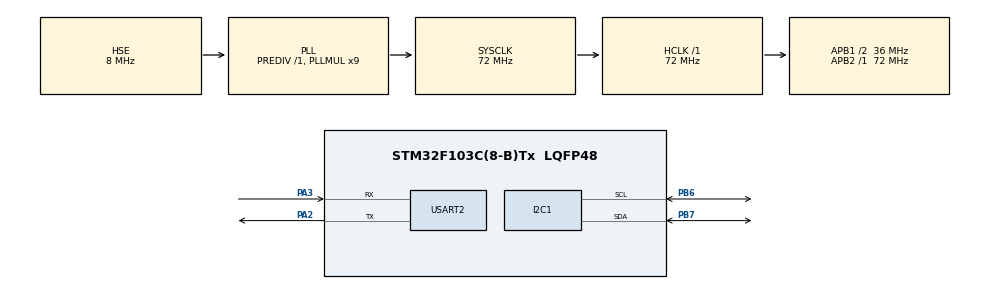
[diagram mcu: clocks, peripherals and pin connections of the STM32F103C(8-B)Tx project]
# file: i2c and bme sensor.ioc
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Mcu.Family=STM32F1
Mcu.Name=STM32F103C(8-B)Tx
Mcu.Package=LQFP48
NVIC.PriorityGroup=NVIC_PRIORITYGROUP_4
PA13.Mode=Serial_Wire
PA13.Signal=SYS_JTMS-SWDIO
PA14.Mode=Serial_Wire
PA14.Signal=SYS_JTCK-SWCLK
PA2.Mode=Asynchronous
PA2.Signal=USART2_TX
PA3.Mode=Asynchronous
PA3.Signal=USART2_RX
PB6.Mode=I2C
PB6.Signal=I2C1_SCL
PB7.Mode=I2C
PB7.Signal=I2C1_SDA
PD0-OSC_IN.Mode=HSE-External-Oscillator
PD0-OSC_IN.Signal=RCC_OSC_IN
PD1-OSC_OUT.Mode=HSE-External-Oscillator
PD1-OSC_OUT.Signal=RCC_OSC_OUT
ProjectManager.HeapSize=0x200
ProjectManager.StackSize=0x400
ProjectManager.TargetToolchain=MDK-ARM V5.32
RCC.AHBFreq_Value=72000000
RCC.APB1CLKDivider=RCC_HCLK_DIV2
RCC.APB1Freq_Value=36000000
RCC.APB1TimFreq_Value=72000000
RCC.APB2Freq_Value=72000000
RCC.APB2TimFreq_Value=72000000
RCC.HCLKFreq_Value=72000000
RCC.PLLMUL=RCC_PLL_MUL9
RCC.PLLSourceVirtual=RCC_PLLSOURCE_HSE
RCC.SYSCLKFreq_VALUE=72000000
RCC.SYSCLKSource=RCC_SYSCLKSOURCE_PLLCLK
RCC.USBFreq_Value=72000000
USART2.VirtualMode=VM_ASYNC
board=custom

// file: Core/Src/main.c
/* USER CODE BEGIN Header */
/**
  ******************************************************************************
  * @file           : main.c
  * @brief          : Main program body
  ******************************************************************************
  * @attention
  *
  * Copyright (c) 2026 STMicroelectronics.
  * All rights reserved.
  *
  * This software is licensed under terms that can be found in the LICENSE file
  * in the root directory of this software component.
  * If no LICENSE file comes with this software, it is provided AS-IS.
  *
  ******************************************************************************
  */
/* USER CODE END Header */
#include "main.h"
#include "string.h"
#include <stdlib.h>
/* USER CODE BEGIN Includes */
#include "bme280.h"
#include <stdio.h>
/* USER CODE END Includes */

I2C_HandleTypeDef hi2c1;

UART_HandleTypeDef huart2;

/* USER CODE BEGIN PV */
	extern I2C_HandleTypeDef hi2c1; // Assumes I2C1 is configured via CubeMX
	struct bme280_dev dev;
	struct bme280_data comp_data;
	struct bme280_settings settings;
	int8_t rslt = BME280_OK;

	// Variables to store final calculated values
	float temperature=0.0f, pressure=0.0f, humidity=0.0f;
	uint8_t rx_data[800];
	uint8_t rx_char;
	uint16_t array_index = 0;

	char ip_info[150];
	char json_data[200];
	char response[1024];
	char cmd[64];
	char html_page[800];
	char sensor_text[900];

	uint8_t cmd1[] = "AT\r\n";
	uint8_t cmd2[] = "AT+CWMODE=1\r\n";
	uint8_t cmd3[] = "AT+CWJAP=\"<SSID>\",\"<PASSWORD>\"\r\n";
	uint8_t cmd4[] = "AT+CIFSR\r\n";
	uint8_t cmd5[] = "AT+CIPMUX=1\r\n";
	uint8_t cmd6[] = "AT+CIPSERVER=1,80\r\n";
/* USER CODE END PV */

	void SystemClock_Config(void);
	static void MX_GPIO_Init(void);
	static void MX_I2C1_Init(void);
	static void MX_USART2_UART_Init(void);

/* USER CODE BEGIN 0 */
	int8_t user_i2c_read(uint8_t reg_addr, uint8_t *reg_data, uint32_t len, void *intf_ptr) {
		 uint8_t dev_addr = *(uint8_t*)intf_ptr;
		 if (HAL_I2C_Mem_Read(&hi2c1, (dev_addr << 1), reg_addr, I2C_MEMADD_SIZE_8BIT, reg_data, len,
		HAL_MAX_DELAY) == HAL_OK) {
				return BME280_OK;
		 }
		 return BME280_E_COMM_FAIL;
	}
	int8_t user_i2c_write(uint8_t reg_addr, const uint8_t *reg_data, uint32_t len, void *intf_ptr) {
		 uint8_t dev_addr = *(uint8_t*)intf_ptr;
		 if (HAL_I2C_Mem_Write(&hi2c1, (dev_addr << 1), reg_addr, I2C_MEMADD_SIZE_8BIT,
		(uint8_t*)reg_data, len, HAL_MAX_DELAY) == HAL_OK) {
				return BME280_OK;
		 }
		 return BME280_E_COMM_FAIL;
	}
	void user_delay_us(uint32_t period, void *intf_ptr) {
	 HAL_Delay((period / 1000) + 1);
	}

	void clear_buffer(void)
	{
			memset(rx_data, 0, sizeof(rx_data));
			array_index = 0;
		}
	void receive_response(void) {
			while (1) {
					if (HAL_UART_Receive(&huart2, &rx_char, 1, 20000) == HAL_OK) {
							if (array_index < sizeof(rx_data) - 1) {
									rx_data[array_index++] = rx_char;
									rx_data[array_index] = '\0';
							}

							if (strstr((char *)rx_data, "OK\r\n") != NULL) {
									break;
							}
							if (strstr((char *)rx_data, "ERROR") != NULL ||
									strstr((char *)rx_data, "FAIL") != NULL) {
									break;
							}
					} else {
							break;
					}
			}
	}
	void send_http_response(const char *content, const char *content_type, int conn_id) {
			int content_len = strlen(content);
			int response_len = snprintf(response, sizeof(response),
					"HTTP/1.1 200 OK\r\n"
					"Content-Type: %s\r\n"
					"Content-Length: %d\r\n"
					"Connection: close\r\n\r\n"
					"%s",
					content_type, content_len, content);

			snprintf(cmd, sizeof(cmd), "AT+CIPSEND=%d,%d\r\n", conn_id, response_len);

			clear_buffer();
			HAL_UART_Transmit(&huart2, (uint8_t*)cmd, strlen(cmd), 1000);
			HAL_Delay(200); // Wait for '>' prompt from ESP8266

			HAL_UART_Transmit(&huart2, (uint8_t*)response, response_len, 1000);
			HAL_Delay(300); // Wait for SEND OK

			clear_buffer();
			snprintf(cmd, sizeof(cmd), "AT+CIPCLOSE=%d\r\n", conn_id);
			HAL_UART_Transmit(&huart2, (uint8_t*)cmd, strlen(cmd), 1000);
	}
/* USER CODE END 0 */

int main(void)
{

  /* MCU Configuration--------------------------------------------------------*/

  /* Reset of all peripherals, Initializes the Flash interface and the Systick. */
  HAL_Init();

  /* Configure the system clock */
  SystemClock_Config();

  /* Initialize all configured peripherals */
  MX_GPIO_Init();
  MX_I2C1_Init();
  MX_USART2_UART_Init();
  /* USER CODE BEGIN 2 */
	static uint8_t dev_addr = BME280_I2C_ADDR_PRIM; // 0x76 (use BME280_I2C_ADDR_SEC if SDO is high)

 // Set up the API configuration function pointers
 dev.intf_ptr = &dev_addr;
 dev.intf = BME280_I2C_INTF;
 dev.read = user_i2c_read;
 dev.write = user_i2c_write;
 dev.delay_us = user_delay_us;
 // Initialize the BME280 sensor (This automatically extracts the compensation data)
 rslt = bme280_init(&dev);
 // Configure sensor settings
 settings.osr_h = BME280_OVERSAMPLING_1X;
 settings.osr_p = BME280_OVERSAMPLING_1X;
 settings.osr_t = BME280_OVERSAMPLING_1X;
 settings.filter = BME280_FILTER_COEFF_OFF;
 rslt = bme280_set_sensor_settings(BME280_SEL_OSR_PRESS | BME280_SEL_OSR_TEMP |BME280_SEL_OSR_HUM | BME280_SEL_FILTER,&settings ,&dev);

 // Set power mode to normal to enable continuous measurement cycles
 rslt = bme280_set_sensor_mode(BME280_POWERMODE_NORMAL, &dev);
  /* USER CODE END 2 */
	HAL_Delay(2000);
	clear_buffer();
	HAL_UART_Transmit(&huart2, cmd1, strlen((char *)cmd1), HAL_MAX_DELAY);
	receive_response();
	clear_buffer();
	HAL_UART_Transmit(&huart2, cmd2, strlen((char *)cmd2), HAL_MAX_DELAY);
	receive_response();
	clear_buffer();
	HAL_UART_Transmit(&huart2, cmd3, strlen((char *)cmd3), HAL_MAX_DELAY);
	receive_response();
	clear_buffer();
  HAL_UART_Transmit(&huart2, cmd4, strlen((char *)cmd4), HAL_MAX_DELAY);
  receive_response();
  strncpy(ip_info, (char *)rx_data, sizeof(ip_info) - 1); // Save IP for debugger inspection
  ip_info[sizeof(ip_info) - 1] = '\0';
	clear_buffer();
	HAL_UART_Transmit(&huart2, cmd5, strlen((char *)cmd5), HAL_MAX_DELAY);
	receive_response();
	clear_buffer();
	HAL_UART_Transmit(&huart2, cmd6, strlen((char *)cmd6), HAL_MAX_DELAY);
	receive_response();
	clear_buffer();
  /* Infinite loop */
  while (1)
  {

    /* USER CODE BEGIN 3 */
    rslt = bme280_get_sensor_data(BME280_ALL, &comp_data, &dev);

    if (rslt == BME280_OK)
    {
        temperature = comp_data.temperature;
        pressure = comp_data.pressure / 100.0f;
        humidity = comp_data.humidity;
    }

    if (HAL_UART_Receive(&huart2, &rx_char, 1, 10) == HAL_OK)
    {
        if (array_index < sizeof(rx_data) - 1)
        {
            rx_data[array_index++] = rx_char;
            rx_data[array_index] = '\0';
        }
        char *ipd_ptr = strstr((char *)rx_data, "+IPD,");
        if (ipd_ptr != NULL && strstr((char *)rx_data, "\r\n\r\n") != NULL)
        {
            int conn_id = ipd_ptr[5] - '0';
            if (conn_id < 0 || conn_id > 4)
            {
                conn_id = 0;
            }
            if (strstr((char *)rx_data, "GET /data") != NULL)
            {
                snprintf(sensor_text, sizeof(sensor_text),
                    "Temperature: %.2f C<br>"
                    "Pressure: %.2f hPa<br>"
                    "Humidity: %.2f %%",
                    temperature, pressure, humidity);

                send_http_response(sensor_text, "text/html", conn_id);
            }
            else if (strstr((char *)rx_data, "GET / ") != NULL)
            {
                snprintf(html_page, sizeof(html_page),
                    "<html><body>"
                    "<h1>Helloo!!</h1>"
                    "<h3 id='data'>Loading...</h3>"
                    "<script>"
                    "function update(){"
                    "fetch('/data').then(r=>r.text()).then(t=>"
                    "document.getElementById('data').innerHTML=t);"
                    "}"
                    "update();setInterval(update,1000);"
                    "</script></body></html>");

                send_http_response(html_page, "text/html", conn_id);
            }
						else
						{
								send_http_response("Not Found", "text/plain", conn_id);
						}

            clear_buffer();
        }
    }
  }
  /* USER CODE END 3 */

}
void SystemClock_Config(void)
{
  RCC_OscInitTypeDef RCC_OscInitStruct = {0};
  RCC_ClkInitTypeDef RCC_ClkInitStruct = {0};

  /** Initializes the RCC Oscillators according to the specified parameters
  * in the RCC_OscInitTypeDef structure.
  */
  RCC_OscInitStruct.OscillatorType = RCC_OSCILLATORTYPE_HSE;
  RCC_OscInitStruct.HSEState = RCC_HSE_ON;
  RCC_OscInitStruct.HSEPredivValue = RCC_HSE_PREDIV_DIV1;
  RCC_OscInitStruct.HSIState = RCC_HSI_ON;
  RCC_OscInitStruct.PLL.PLLState = RCC_PLL_ON;
  RCC_OscInitStruct.PLL.PLLSource = RCC_PLLSOURCE_HSE;
  RCC_OscInitStruct.PLL.PLLMUL = RCC_PLL_MUL9;
  if (HAL_RCC_OscConfig(&RCC_OscInitStruct) != HAL_OK)
  {
    Error_Handler();
  }

  /** Initializes the CPU, AHB and APB buses clocks
  */
  RCC_ClkInitStruct.ClockType = RCC_CLOCKTYPE_HCLK|RCC_CLOCKTYPE_SYSCLK
                              |RCC_CLOCKTYPE_PCLK1|RCC_CLOCKTYPE_PCLK2;
  RCC_ClkInitStruct.SYSCLKSource = RCC_SYSCLKSOURCE_PLLCLK;
  RCC_ClkInitStruct.AHBCLKDivider = RCC_SYSCLK_DIV1;
  RCC_ClkInitStruct.APB1CLKDivider = RCC_HCLK_DIV2;
  RCC_ClkInitStruct.APB2CLKDivider = RCC_HCLK_DIV1;

  if (HAL_RCC_ClockConfig(&RCC_ClkInitStruct, FLASH_LATENCY_2) != HAL_OK)
  {
    Error_Handler();
  }
}

static void MX_I2C1_Init(void)
{

  hi2c1.Instance = I2C1;
  hi2c1.Init.ClockSpeed = 100000;
  hi2c1.Init.DutyCycle = I2C_DUTYCYCLE_2;
  hi2c1.Init.OwnAddress1 = 0;
  hi2c1.Init.AddressingMode = I2C_ADDRESSINGMODE_7BIT;
  hi2c1.Init.DualAddressMode = I2C_DUALADDRESS_DISABLE;
  hi2c1.Init.OwnAddress2 = 0;
  hi2c1.Init.GeneralCallMode = I2C_GENERALCALL_DISABLE;
  hi2c1.Init.NoStretchMode = I2C_NOSTRETCH_DISABLE;
  if (HAL_I2C_Init(&hi2c1) != HAL_OK)
  {
    Error_Handler();
  }

}

static void MX_USART2_UART_Init(void)
{

  huart2.Instance = USART2;
  huart2.Init.BaudRate = 115200;
  huart2.Init.WordLength = UART_WORDLENGTH_8B;
  huart2.Init.StopBits = UART_STOPBITS_1;
  huart2.Init.Parity = UART_PARITY_NONE;
  huart2.Init.Mode = UART_MODE_TX_RX;
  huart2.Init.HwFlowCtl = UART_HWCONTROL_NONE;
  huart2.Init.OverSampling = UART_OVERSAMPLING_16;
  if (HAL_UART_Init(&huart2) != HAL_OK)
  {
    Error_Handler();
  }

}

static void MX_GPIO_Init(void)
{

  /* GPIO Ports Clock Enable */
  __HAL_RCC_GPIOD_CLK_ENABLE();
  __HAL_RCC_GPIOA_CLK_ENABLE();
  __HAL_RCC_GPIOB_CLK_ENABLE();

}

void Error_Handler(void)
{
  __disable_irq();
  while (1)
  {
  }
}
